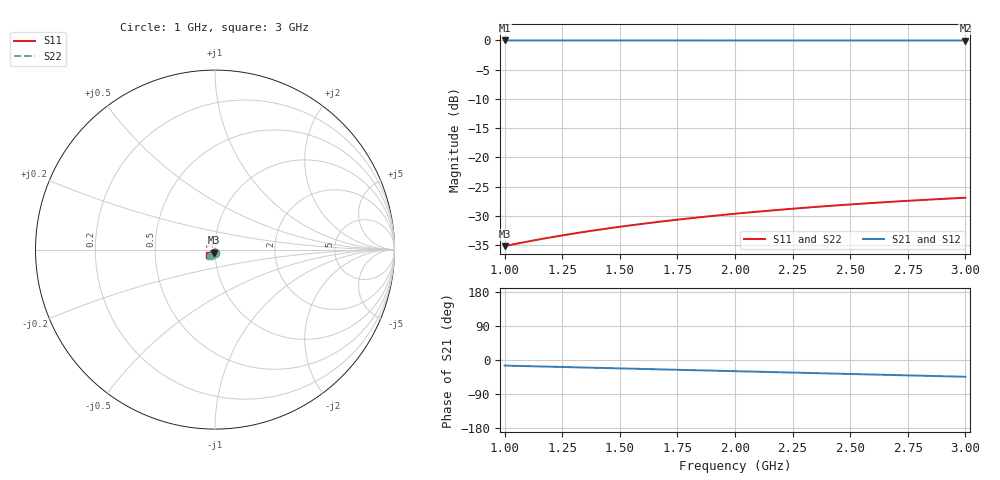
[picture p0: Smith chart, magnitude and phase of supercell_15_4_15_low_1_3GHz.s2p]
! Touchstone file exported from HFSS 2026.1.0
!  Generated:  11:23:11 AM Aug 21, 2026
!  Design:  HFSSDesign_Supercell_15_4_15
!  Project:  15-4-15_super_cell
!  Setup:  Setup1
!  Solution:  Sweep_small_freq
! Variables:
!  stub_length = 12.1um
# GHz S MA R 50.000000
! Terminal data exported
! Port[1] = Port1
! Port[2] = Port2
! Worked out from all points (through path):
!   111 points, 1 GHz to 3 GHz, reference 50 ohm
!   highest |S21| = 0.00 dB at 1 GHz (marker M1); lowest = 0.0 dB at 3 GHz (marker M2)
!   group delay of S21, straight-line fit = 41 ps
!   lowest |S11| = -35.2 dB at 1 GHz (marker M3), VSWR 1.04, Z = 49.4 - j1.61 ohm
!   |S11| at or under -10 dB: start of sweep to end of sweep
!   |S22| runs from -35.2 to -26.9 dB; largest |S21 - S12| = 1.9e-09
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1  0.01747 -110.6  0.9998 -14.8  0.9998 -14.8  0.01747 -98.9
! Gamma 0 862.845280752451 6.5058934368281E-32 867.127841156659
! Port Impedance 50 0 50 0
1.072727  0.01868 -111.3  0.9998 -15.8  0.9998 -15.8  0.01868 -100.4
1.109091  0.01928 -111.7  0.9998 -16.4  0.9998 -16.4  0.01928 -101.1
1.163636  0.02018 -112.2  0.9998 -17.2  0.9998 -17.2  0.02018 -102.1
1.254545  0.02166 -113.2  0.9998 -18.5  0.9998 -18.5  0.02166 -103.8
1.345455  0.02313 -114.3  0.9997 -19.9  0.9997 -19.9  0.02313 -105.4
1.418182  0.02429 -115.2  0.9997 -20.9  0.9997 -20.9  0.02429 -106.7
1.509091  0.02572 -116.3  0.9997 -22.3  0.9997 -22.3  0.02572 -108.2
1.581818  0.02685 -117.2  0.9996 -23.3  0.9996 -23.3  0.02685 -109.5
1.672727  0.02824 -118.4  0.9996 -24.7  0.9996 -24.7  0.02824 -111.0
1.745455  0.02934 -119.3  0.9996 -25.8  0.9996 -25.8  0.02934 -112.2
1.836364  0.03069 -120.5  0.9995 -27.1  0.9995 -27.1  0.03069 -113.7
1.909091  0.03175 -121.5  0.9995 -28.2  0.9995 -28.2  0.03175 -114.9
2  0.03306 -122.7  0.9995 -29.5  0.9995 -29.5  0.03306 -116.3
2.072727  0.03408 -123.7  0.9994 -30.6  0.9994 -30.6  0.03408 -117.5
2.163636  0.03533 -124.9  0.9994 -31.9  0.9994 -31.9  0.03533 -118.9
2.254545  0.03655 -126.2  0.9993 -33.3  0.9993 -33.3  0.03655 -120.3
2.345455  0.03774 -127.4  0.9993 -34.6  0.9993 -34.6  0.03774 -121.8
2.509091  0.0398 -129.7  0.9992 -37.0  0.9992 -37.0  0.0398 -124.3
2.672727  0.04175 -132.0  0.9991 -39.4  0.9991 -39.4  0.04175 -126.8
2.836364  0.04358 -134.3  0.999 -41.8  0.999 -41.8  0.04358 -129.3
3  0.04529 -136.7  0.999 -44.2  0.999 -44.2  0.04529 -131.8
